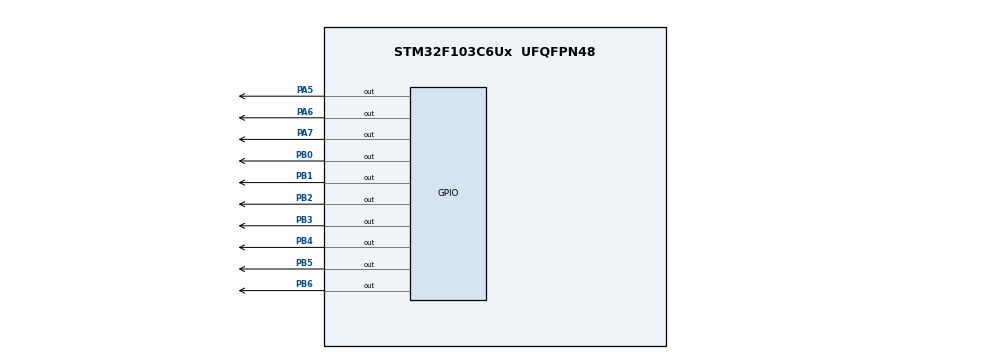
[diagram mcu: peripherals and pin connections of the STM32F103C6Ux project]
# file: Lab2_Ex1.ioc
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Mcu.Family=STM32F1
Mcu.Name=STM32F103C6Ux
Mcu.Package=UFQFPN48
NVIC.PriorityGroup=NVIC_PRIORITYGROUP_4
NVIC.TIM2_IRQn=true\:0\:0\:false\:false\:true\:true\:true
PA5.Signal=GPIO_Output
PA6.Signal=GPIO_Output
PA7.Signal=GPIO_Output
PB0.Signal=GPIO_Output
PB1.Signal=GPIO_Output
PB2.Signal=GPIO_Output
PB3.Signal=GPIO_Output
PB4.Signal=GPIO_Output
PB5.Signal=GPIO_Output
PB6.Signal=GPIO_Output
ProjectManager.HeapSize=0x200
ProjectManager.StackSize=0x400
ProjectManager.TargetToolchain=STM32CubeIDE
RCC.APB1Freq_Value=8000000
RCC.APB2Freq_Value=8000000
TIM2.Period=9
TIM2.Prescaler=7999
VP_SYS_VS_ND.Mode=No_Debug
VP_TIM2_VS_ClockSourceINT.Mode=Internal
board=custom

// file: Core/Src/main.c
/* USER CODE BEGIN Header */
/**
  ******************************************************************************
  * @file           : main.c
  * @brief          : Main program body
  ******************************************************************************
  * @attention
  *
  * <h2><center>&copy; Copyright (c) 2022 STMicroelectronics.
  * All rights reserved.</center></h2>
  *
  * This software component is licensed by ST under BSD 3-Clause license,
  * the "License"; You may not use this file except in compliance with the
  * License. You may obtain a copy of the License at:
  *                        opensource.org/licenses/BSD-3-Clause
  *
  ******************************************************************************
  */
/* USER CODE END Header */
#include "main.h"

/* USER CODE BEGIN Includes */
#include "Led7segment.h"
/* USER CODE END Includes */

TIM_HandleTypeDef htim2;

void SystemClock_Config(void);
static void MX_GPIO_Init(void);
static void MX_TIM2_Init(void);

int main(void)
{

  /* MCU Configuration--------------------------------------------------------*/

  /* Reset of all peripherals, Initializes the Flash interface and the Systick. */
  HAL_Init();

  /* Configure the system clock */
  SystemClock_Config();

  /* Initialize all configured peripherals */
  MX_GPIO_Init();
  MX_TIM2_Init();
  /* USER CODE BEGIN 2 */
  HAL_TIM_Base_Start_IT (& htim2 );

  /* USER CODE END 2 */

  /* Infinite loop */
  while (1)
  {

  }
}

void SystemClock_Config(void)
{
  RCC_OscInitTypeDef RCC_OscInitStruct = {0};
  RCC_ClkInitTypeDef RCC_ClkInitStruct = {0};

  /** Initializes the RCC Oscillators according to the specified parameters
  * in the RCC_OscInitTypeDef structure.
  */
  RCC_OscInitStruct.OscillatorType = RCC_OSCILLATORTYPE_HSI;
  RCC_OscInitStruct.HSIState = RCC_HSI_ON;
  RCC_OscInitStruct.HSICalibrationValue = RCC_HSICALIBRATION_DEFAULT;
  RCC_OscInitStruct.PLL.PLLState = RCC_PLL_NONE;
  if (HAL_RCC_OscConfig(&RCC_OscInitStruct) != HAL_OK)
  {
    Error_Handler();
  }
  /** Initializes the CPU, AHB and APB buses clocks
  */
  RCC_ClkInitStruct.ClockType = RCC_CLOCKTYPE_HCLK|RCC_CLOCKTYPE_SYSCLK
                              |RCC_CLOCKTYPE_PCLK1|RCC_CLOCKTYPE_PCLK2;
  RCC_ClkInitStruct.SYSCLKSource = RCC_SYSCLKSOURCE_HSI;
  RCC_ClkInitStruct.AHBCLKDivider = RCC_SYSCLK_DIV1;
  RCC_ClkInitStruct.APB1CLKDivider = RCC_HCLK_DIV1;
  RCC_ClkInitStruct.APB2CLKDivider = RCC_HCLK_DIV1;

  if (HAL_RCC_ClockConfig(&RCC_ClkInitStruct, FLASH_LATENCY_0) != HAL_OK)
  {
    Error_Handler();
  }
}

static void MX_TIM2_Init(void)
{

  TIM_ClockConfigTypeDef sClockSourceConfig = {0};
  TIM_MasterConfigTypeDef sMasterConfig = {0};

  htim2.Instance = TIM2;
  htim2.Init.Prescaler = 7999;
  htim2.Init.CounterMode = TIM_COUNTERMODE_UP;
  htim2.Init.Period = 9;
  htim2.Init.ClockDivision = TIM_CLOCKDIVISION_DIV1;
  htim2.Init.AutoReloadPreload = TIM_AUTORELOAD_PRELOAD_DISABLE;
  if (HAL_TIM_Base_Init(&htim2) != HAL_OK)
  {
    Error_Handler();
  }
  sClockSourceConfig.ClockSource = TIM_CLOCKSOURCE_INTERNAL;
  if (HAL_TIM_ConfigClockSource(&htim2, &sClockSourceConfig) != HAL_OK)
  {
    Error_Handler();
  }
  sMasterConfig.MasterOutputTrigger = TIM_TRGO_RESET;
  sMasterConfig.MasterSlaveMode = TIM_MASTERSLAVEMODE_DISABLE;
  if (HAL_TIMEx_MasterConfigSynchronization(&htim2, &sMasterConfig) != HAL_OK)
  {
    Error_Handler();
  }

}

static void MX_GPIO_Init(void)
{
  GPIO_InitTypeDef GPIO_InitStruct = {0};

  /* GPIO Ports Clock Enable */
  __HAL_RCC_GPIOA_CLK_ENABLE();
  __HAL_RCC_GPIOB_CLK_ENABLE();

  /*Configure GPIO pin Output Level */
  HAL_GPIO_WritePin(GPIOA, GPIO_PIN_5|GPIO_PIN_6|GPIO_PIN_7, GPIO_PIN_RESET);

  /*Configure GPIO pin Output Level */
  HAL_GPIO_WritePin(GPIOB, GPIO_PIN_0|GPIO_PIN_1|GPIO_PIN_2|GPIO_PIN_3
                          |GPIO_PIN_4|GPIO_PIN_5|GPIO_PIN_6, GPIO_PIN_RESET);

  /*Configure GPIO pins : PA5 PA6 PA7 */
  GPIO_InitStruct.Pin = GPIO_PIN_5|GPIO_PIN_6|GPIO_PIN_7;
  GPIO_InitStruct.Mode = GPIO_MODE_OUTPUT_PP;
  GPIO_InitStruct.Pull = GPIO_NOPULL;
  GPIO_InitStruct.Speed = GPIO_SPEED_FREQ_LOW;
  HAL_GPIO_Init(GPIOA, &GPIO_InitStruct);

  /*Configure GPIO pins : PB0 PB1 PB2 PB3
                           PB4 PB5 PB6 */
  GPIO_InitStruct.Pin = GPIO_PIN_0|GPIO_PIN_1|GPIO_PIN_2|GPIO_PIN_3
                          |GPIO_PIN_4|GPIO_PIN_5|GPIO_PIN_6;
  GPIO_InitStruct.Mode = GPIO_MODE_OUTPUT_PP;
  GPIO_InitStruct.Pull = GPIO_NOPULL;
  GPIO_InitStruct.Speed = GPIO_SPEED_FREQ_LOW;
  HAL_GPIO_Init(GPIOB, &GPIO_InitStruct);

}

/* USER CODE BEGIN 4 */
int counter = 50;
int EN=0;
void HAL_TIM_PeriodElapsedCallback ( TIM_HandleTypeDef * htim )
{
	counter --;
	if( counter <= 0) {
		counter = 50;
		HAL_GPIO_WritePin(GPIOA, GPIO_PIN_5, RESET);
		if (EN==0){
			displaySeg7(1);
			HAL_GPIO_WritePin(GPIOA, GPIO_PIN_6, RESET);
			HAL_GPIO_WritePin(GPIOA, GPIO_PIN_7, SET);
			EN=1;
		}
		else if(EN==1){
			displaySeg7(2);
			HAL_GPIO_WritePin(GPIOA, GPIO_PIN_6, SET);
			HAL_GPIO_WritePin(GPIOA, GPIO_PIN_7, RESET);
			EN=0;
		}

	}
}
/* USER CODE END 4 */

void Error_Handler(void)
{
  __disable_irq();
  while (1)
  {
  }
}

/************************ (C) COPYRIGHT STMicroelectronics *****END OF FILE****/
